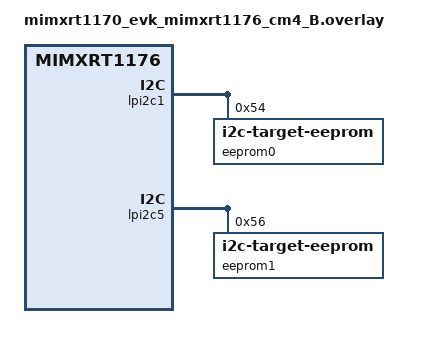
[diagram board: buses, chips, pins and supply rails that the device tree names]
/*
 * Copyright 2023 NXP
 *
 * SPDX-License-Identifier: Apache-2.0
 */

/* To test this sample, connect J26.12 <-> J10.20 and J26.10 <-> J10.18 */

&lpi2c1 {
	status = "okay";
	eeprom0: eeprom@54 {
		compatible = "zephyr,i2c-target-eeprom";
		reg = <0x54>;
		size = <1024>;
	};
};

&lpi2c5 {
	status = "okay";
	eeprom1: eeprom@56 {
		compatible = "zephyr,i2c-target-eeprom";
		reg = <0x56>;
		size = <1024>;
	};
};
